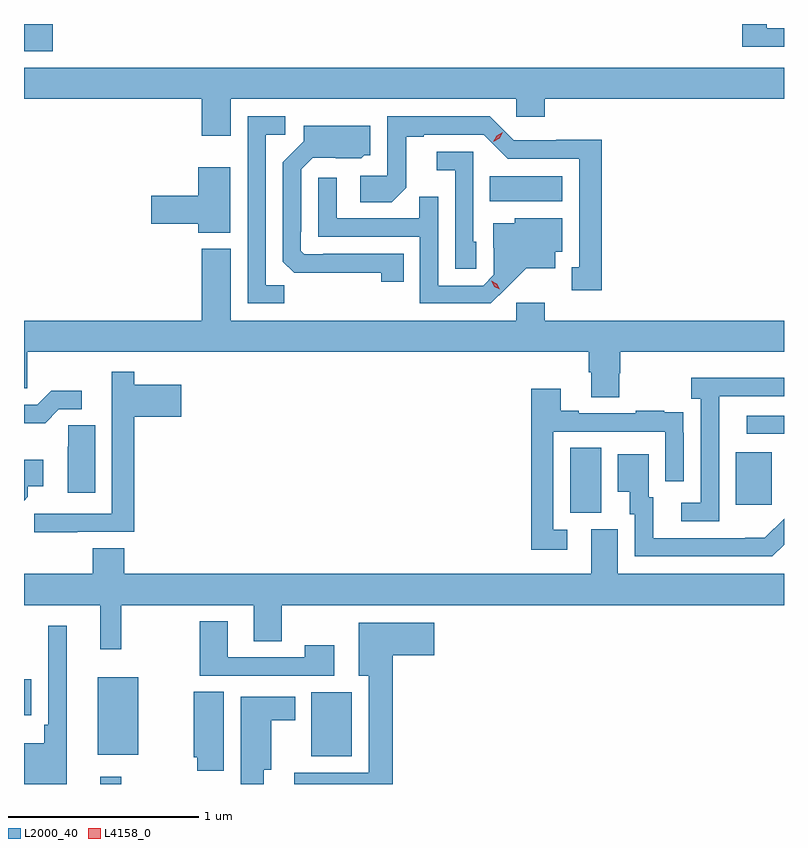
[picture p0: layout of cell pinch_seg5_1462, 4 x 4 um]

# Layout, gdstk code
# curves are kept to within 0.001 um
import gdstk
lib = gdstk.Library(unit=1e-6, precision=1e-09)
def R(c, l, rs):  # rectangles x0, y0, x1, y1
    for r in rs: c.add(gdstk.rectangle(r[:2], r[2:], *l))
def P(c, l, *ps):  # polygons
    for p in ps: c.add(gdstk.Polygon(p, *l))
L2000_40 = (2000, 40)
L4158_0 = (4158, 0)

pinch_seg5_1462 = lib.new_cell('pinch_seg5_1462')
R(pinch_seg5_1462, L2000_40, [(313.142,853.154,313.252,853.192), (314.252,853.301,314.464,853.636), (313.127,853.307,313.342,853.717), (312.74,853.517,312.778,853.705), (315.614,854.581,315.778,854.924), (316.487,854.625,316.675,854.899), (316.545,854.997,316.74,855.093), (315.19,856.22,315.574,856.354), (312.74,857.01,312.892,857.154)])
P(pinch_seg5_1462, L2000_40, [(316.74,857.131),(316.648,857.131),(316.648,857.154),(316.519,857.154),(316.519,857.034),(316.74,857.034)],
  [(313.828,856.76),(315.33,856.76),(315.33,856.667),(315.482,856.667),(315.482,856.76),(316.74,856.76),(316.74,856.924),(312.74,856.924),(312.74,856.76),(313.676,856.76),(313.676,856.566),(313.828,856.566)],
  [(314.109,855.779),(314.013,855.779),(314.013,856.572),(314.116,856.572),(314.116,856.668),(313.917,856.668),(313.917,855.684),(314.109,855.684)],
  [(315.781,856.544),(315.54,856.544),(315.54,856.542),(315.318,856.542),(315.192,856.668),(314.652,856.668),(314.652,856.356),(314.511,856.356),(314.511,856.216),(314.675,856.216),(314.751,856.292),(314.751,856.56),(314.845,856.56),(314.845,856.572),(315.159,856.572),(315.285,856.446),(315.662,856.446),(315.662,855.873),(315.623,855.873),(315.623,855.753),(315.781,855.753)],
  [(314.738,855.945),(314.314,855.945),(314.314,855.942),(314.214,855.942),(314.196,855.96),(314.196,856.06),(314.199,856.06),(314.199,856.389),(314.259,856.449),(314.516,856.448),(314.532,856.464),(314.563,856.464),(314.563,856.618),(314.213,856.618),(314.213,856.536),(314.103,856.426),(314.103,855.904),(314.162,855.845),(314.62,855.844),(314.62,855.798),(314.738,855.798)],
  [(315.12,856.008),(315.105,856.008),(315.105,856.482),(314.913,856.482),(314.913,856.385),(315.009,856.385),(315.009,855.865),(315.12,855.865)],
  [(313.825,856.399),(313.658,856.399),(313.658,856.25),(313.41,856.25),(313.41,856.103),(313.658,856.103),(313.658,856.055),(313.825,856.055)],
  [(315.28,855.767),(315.383,855.869),(315.535,855.869),(315.535,855.956),(315.574,855.956),(315.574,856.132),(315.324,856.132),(315.324,856.105),(315.209,856.105),(315.209,855.976),(315.213,855.976),(315.213,855.834),(315.156,855.777),(314.919,855.777),(314.919,856.244),(314.821,856.244),(314.821,856.131),(314.385,856.131),(314.385,856.345),(314.289,856.345),(314.289,856.035),(314.823,856.035),(314.823,855.684),(315.196,855.684)],
  [(315.873,855.315),(315.878,855.315),(315.878,855.428),(316.74,855.428),(316.74,855.592),(315.482,855.592),(315.482,855.688),(315.33,855.688),(315.33,855.592),(313.828,855.592),(313.828,855.97),(313.676,855.97),(313.676,855.592),(312.74,855.592),(312.74,855.238),(312.756,855.238),(312.756,855.428),(315.713,855.428),(315.713,855.322),(315.725,855.322),(315.725,855.19),(315.873,855.19)],
  [(313.019,854.481),(313.319,854.481),(313.319,855.086),(313.567,855.086),(313.567,855.256),(313.319,855.256),(313.319,855.325),(313.202,855.325),(313.202,855.102),(313.203,855.102),(313.203,854.577),(312.795,854.577),(312.795,854.479),(313.019,854.479)],
  [(316.398,854.995),(316.399,854.995),(316.399,855.195),(316.74,855.195),(316.74,855.292),(316.251,855.292),(316.251,855.182),(316.302,855.182),(316.302,854.634),(316.2,854.634),(316.2,854.538),(316.398,854.538)],
  [(315.598,854.493),(315.525,854.493),(315.525,855.009),(316.116,855.009),(316.116,854.748),(316.212,854.748),(316.212,855.002),(316.211,855.002),(316.211,855.111),(316.109,855.111),(316.109,855.118),(315.961,855.118),(315.961,855.105),(315.661,855.105),(315.661,855.118),(315.565,855.118),(315.565,855.235),(315.409,855.235),(315.409,854.388),(315.598,854.388)],
  [(312.924,855.126),(313.045,855.126),(313.045,855.223),(312.883,855.223),(312.81,855.15),(312.74,855.15),(312.74,855.054),(312.752,855.054),(312.752,855.053),(312.851,855.053)],
  [(313.114,855.041),(312.972,855.041),(312.972,854.93),(312.971,854.93),(312.971,854.688),(313.114,854.688)],
  [(316.74,854.414),(316.74,854.55),(316.639,854.449),(316.051,854.448),(316.051,854.664),(316.027,854.664),(316.027,854.89),(315.866,854.89),(315.866,854.693),(315.929,854.693),(315.929,854.574),(315.954,854.574),(315.954,854.352),(316.678,854.352)],
  [(312.76,854.665),(312.76,854.72),(312.841,854.72),(312.841,854.86),(312.74,854.86),(312.74,854.645)],
  [(313.252,854.096),(313.949,854.096),(313.949,853.906),(314.097,853.906),(314.097,854.096),(316.74,854.096),(316.74,854.26),(315.865,854.26),(315.865,854.496),(315.725,854.496),(315.725,854.26),(313.268,854.26),(313.268,854.396),(313.103,854.396),(313.103,854.26),(312.74,854.26),(312.74,854.096),(313.142,854.096),(313.142,853.863),(313.252,853.863)],
  [(314.374,853.885),(314.218,853.885),(314.218,853.821),(313.813,853.821),(313.813,854.011),(313.666,854.011),(313.666,853.725),(314.374,853.725)],
  [(314.681,853.832),(314.899,853.832),(314.899,854.002),(314.501,854.002),(314.501,853.724),(314.555,853.724),(314.555,853.212),(314.163,853.212),(314.163,853.154),(314.681,853.154)],
  [(312.964,853.987),(312.867,853.987),(312.867,853.465),(312.847,853.465),(312.847,853.369),(312.74,853.369),(312.74,853.154),(312.964,853.154)],
  [(313.792,853.64),(313.634,853.64),(313.634,853.296),(313.651,853.296),(313.651,853.225),(313.792,853.225)],
  [(314.002,853.229),(314.041,853.229),(314.041,853.49),(314.167,853.49),(314.167,853.612),(313.88,853.612),(313.88,853.154),(314.002,853.154)])
P(pinch_seg5_1462, L4158_0, [(315.211,856.533),(315.211,856.533),(315.228,856.566),(315.26,856.585),(315.26,856.585),(315.26,856.585),(315.243,856.552),(315.211,856.533)],
  [(315.245,855.757),(315.215,855.772),(315.198,855.802),(315.198,855.802),(315.198,855.802),(315.228,855.787),(315.245,855.757),(315.245,855.757)])

lib.write_gds('pinch_seg5_1462.gds')
